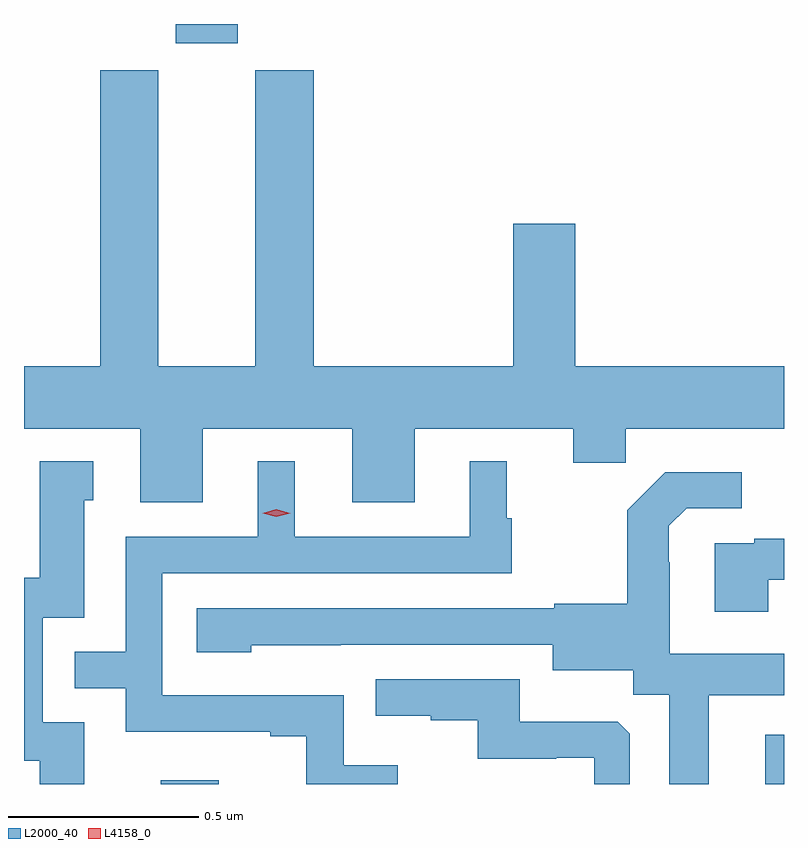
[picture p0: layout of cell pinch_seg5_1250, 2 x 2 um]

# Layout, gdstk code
import gdstk
lib = gdstk.Library(unit=1e-6, precision=1e-09)
def R(c, l, rs):  # rectangles x0, y0, x1, y1
    for r in rs: c.add(gdstk.rectangle(r[:2], r[2:], *l))
def P(c, l, *ps):  # polygons
    for p in ps: c.add(gdstk.Polygon(p, *l))
L2000_40 = (2000, 40)
L4158_0 = (4158, 0)

pinch_seg5_1250 = lib.new_cell('pinch_seg5_1250')
R(pinch_seg5_1250, L2000_40, [(403.841,889.125,403.993,889.135), (405.431,889.125,405.481,889.255), (403.88,891.075,404.044,891.125)])
P(pinch_seg5_1250, L2000_40, [(403.951,890.06),(404.345,890.06),(404.345,889.866),(404.509,889.866),(404.509,890.06),(404.927,890.06),(404.927,889.97),(405.065,889.97),(405.065,890.06),(405.481,890.06),(405.481,890.224),(404.932,890.224),(404.932,890.599),(404.768,890.599),(404.768,890.224),(404.243,890.224),(404.243,891.003),(404.09,891.003),(404.09,890.224),(403.834,890.224),(403.834,891.003),(403.682,891.003),(403.682,890.224),(403.481,890.224),(403.481,890.06),(403.787,890.06),(403.787,889.866),(403.951,889.866)],
  [(403.639,889.287),(403.53,889.287),(403.53,889.563),(403.639,889.563),(403.639,889.872),(403.663,889.872),(403.663,889.975),(403.523,889.975),(403.523,889.668),(403.481,889.668),(403.481,889.186),(403.523,889.186),(403.523,889.125),(403.639,889.125)],
  [(404.464,889.174),(404.322,889.174),(404.322,889.359),(403.845,889.359),(403.845,889.68),(404.764,889.68),(404.764,889.824),(404.752,889.824),(404.752,889.975),(404.654,889.975),(404.654,889.776),(404.194,889.776),(404.194,889.975),(404.096,889.975),(404.096,889.776),(403.749,889.776),(403.749,889.473),(403.615,889.473),(403.615,889.377),(403.749,889.377),(403.749,889.263),(404.129,889.263),(404.129,889.251),(404.224,889.251),(404.224,889.125),(404.464,889.125)],
  [(405.283,889.358),(405.481,889.358),(405.481,889.468),(405.18,889.468),(405.18,889.709),(405.178,889.709),(405.178,889.804),(405.225,889.851),(405.37,889.851),(405.37,889.945),(405.169,889.945),(405.069,889.845),(405.069,889.6),(404.877,889.6),(404.877,889.587),(403.935,889.587),(403.935,889.472),(404.079,889.472),(404.079,889.49),(404.315,889.49),(404.315,889.491),(404.873,889.491),(404.873,889.424),(405.084,889.424),(405.084,889.36),(405.179,889.36),(405.179,889.125),(405.283,889.125)],
  [(405.439,889.662),(405.481,889.662),(405.481,889.771),(405.403,889.771),(405.403,889.758),(405.299,889.758),(405.299,889.578),(405.439,889.578)],
  [(405.075,889.257),(405.043,889.289),(404.785,889.289),(404.785,889.401),(404.407,889.401),(404.407,889.304),(404.551,889.304),(404.551,889.293),(404.675,889.293),(404.675,889.191),(404.882,889.191),(404.882,889.194),(404.982,889.194),(404.982,889.125),(405.075,889.125)])
P(pinch_seg5_1250, L4158_0, [(404.145,889.828),(404.109,889.838),(404.109,889.838),(404.109,889.838),(404.145,889.848),(404.181,889.838),(404.181,889.838),(404.181,889.838)])

lib.write_gds('pinch_seg5_1250.gds')
